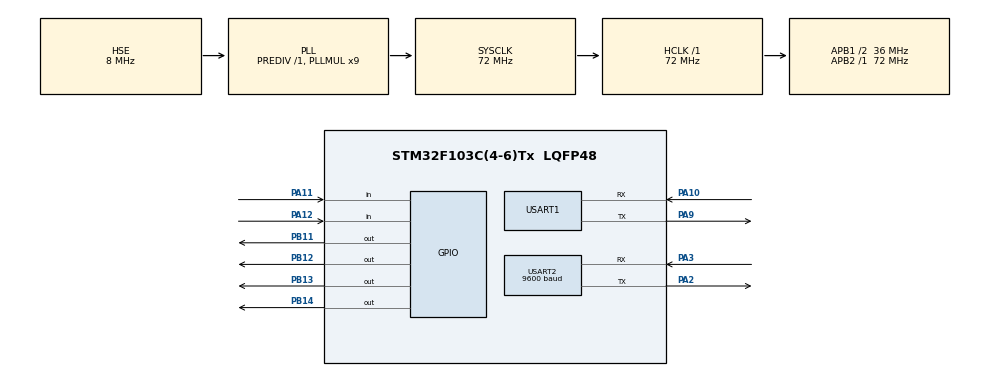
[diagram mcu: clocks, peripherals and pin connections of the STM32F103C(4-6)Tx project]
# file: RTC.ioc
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IWDG.Prescaler=IWDG_PRESCALER_256
Mcu.Family=STM32F1
Mcu.Name=STM32F103C(4-6)Tx
Mcu.Package=LQFP48
NVIC.PriorityGroup=NVIC_PRIORITYGROUP_4
NVIC.RTC_Alarm_IRQn=true\:0\:0\:false\:false\:true\:true\:true\:true
NVIC.RTC_IRQn=true\:0\:0\:false\:false\:true\:true\:true\:true
PA10.Mode=Asynchronous
PA10.Signal=USART1_RX
PA11.Signal=GPIO_Input
PA12.Signal=GPIO_Input
PA13.Mode=Serial_Wire
PA13.Signal=SYS_JTMS-SWDIO
PA14.Mode=Serial_Wire
PA14.Signal=SYS_JTCK-SWCLK
PA2.Mode=Asynchronous
PA2.Signal=USART2_TX
PA3.Mode=Asynchronous
PA3.Signal=USART2_RX
PA9.Mode=Asynchronous
PA9.Signal=USART1_TX
PB11.Signal=GPIO_Output
PB12.Signal=GPIO_Output
PB13.Signal=GPIO_Output
PB14.Signal=GPIO_Output
PC14-OSC32_IN.Mode=LSE-External-Oscillator
PC14-OSC32_IN.Signal=RCC_OSC32_IN
PC15-OSC32_OUT.Mode=LSE-External-Oscillator
PC15-OSC32_OUT.Signal=RCC_OSC32_OUT
PD0-OSC_IN.Mode=HSE-External-Oscillator
PD0-OSC_IN.Signal=RCC_OSC_IN
PD1-OSC_OUT.Mode=HSE-External-Oscillator
PD1-OSC_OUT.Signal=RCC_OSC_OUT
ProjectManager.HeapSize=0x200
ProjectManager.StackSize=0x400
ProjectManager.TargetToolchain=MDK-ARM V5.32
RCC.AHBFreq_Value=72000000
RCC.APB1CLKDivider=RCC_HCLK_DIV2
RCC.APB1Freq_Value=36000000
RCC.APB1TimFreq_Value=72000000
RCC.APB2Freq_Value=72000000
RCC.APB2TimFreq_Value=72000000
RCC.HCLKFreq_Value=72000000
RCC.PLLMUL=RCC_PLL_MUL9
RCC.PLLSourceVirtual=RCC_PLLSOURCE_HSE
RCC.RTCClockSelection=RCC_RTCCLKSOURCE_LSE
RCC.SYSCLKFreq_VALUE=72000000
RCC.SYSCLKSource=RCC_SYSCLKSOURCE_PLLCLK
RCC.USBFreq_Value=72000000
RTC.AsynchPrediv=32767
RTC.AutoPrediv=0
RTC.Date=17
RTC.Format=RTC_FORMAT_BCD
RTC.Month=RTC_MONTH_AUGUST
RTC.OutPut=RTC_OUTPUTSOURCE_ALARM
RTC.WeekDay=RTC_WEEKDAY_SUNDAY
RTC.Year=25
USART1.VirtualMode=VM_ASYNC
USART2.BaudRate=9600
USART2.VirtualMode=VM_ASYNC
VP_IWDG_VS_IWDG.Mode=IWDG_Activate
VP_RTC_VS_RTC_Activate.Mode=RTC_Enabled
VP_RTC_VS_RTC_Calendar.Mode=RTC_Calendar
board=custom

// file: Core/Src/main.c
/* USER CODE BEGIN Header */
/**
  ******************************************************************************
  * @file           : main.c
  * @brief          : Main program body
  ******************************************************************************
  * @attention
  *
  * Copyright (c) 2025 STMicroelectronics.
  * All rights reserved.
  *
  * This software is licensed under terms that can be found in the LICENSE file
  * in the root directory of this software component.
  * If no LICENSE file comes with this software, it is provided AS-IS.
  *
  ******************************************************************************
  */
/* USER CODE END Header */
#include "main.h"
#include "iwdg.h"
#include "rtc.h"
#include "usart.h"
#include "gpio.h"

/* USER CODE BEGIN Includes */
#include "stdio.h"
#include "string.h"
#include <stdlib.h>
#include <string.h>
#include <ctype.h>
#include "stm32f1xx_hal.h"  // ?? ??? MCU ????

extern RTC_HandleTypeDef hrtc; // ????? ????? hrtc ?? rtc.c
volatile uint8_t alarm_flag = 0; // ???? ?????
extern UART_HandleTypeDef huart1;
extern UART_HandleTypeDef huart2; // UART2 ???? SIM800

RTC_DateTypeDef sDate= {0};
RTC_TimeTypeDef sTime = {0};

/* USER CODE END Includes */

/* USER CODE BEGIN PTD */
uint16_t rx_index = 0;
char uart_buffer[256];
uint8_t alarm_duration = 2;

uint8_t led1_end_hour;
uint8_t led1_end_minute; // ????? ??
uint8_t led2_end_hour;
uint8_t led2_end_minute;
uint8_t led3_end_hour;
uint8_t led3_end_minute;

/* USER CODE END PTD */

/* USER CODE BEGIN PD */
// ?????? (?? ???? ???? ????? ????????? ???? ????? ???)
#define LED1_GPIO GPIOB
#define LED1_PIN  GPIO_PIN_12
#define LED2_GPIO GPIOB
#define LED2_PIN  GPIO_PIN_13   // ????? ??? ??? ?? ????? ??
#define LED3_GPIO GPIOB
#define LED3_PIN  GPIO_PIN_14   // ????? ??? ??? ?? ????? ??

// ????? ? ??????? LED??
volatile uint8_t led1_on = 0, led2_on = 0, led3_on = 0;
uint8_t led1_hour, led1_minute = 0, led1_duration = 0;
uint8_t led2_hour, led2_minute = 0, led2_duration = 0;
uint8_t led3_hour, led3_minute = 0, led3_duration = 0;

uint32_t last_door_event_time = 0;   // ???? ????? ?????? ??
uint8_t door_event_stage = 0; // 0=????? ???? ????? 1=???? ???????? 2=???? ?????
uint8_t door_sensor_enabled = 0;  // 1=????? 0=??? ????
uint8_t alarms_enabled = 0;  // 1=????? 0=??? ????

volatile uint8_t sms_received_flag = 0;
volatile uint8_t sms_index = 0;
// ???? ????? ???-blocking ????? ?????
volatile uint8_t status_sms_pending = 0;      // flag ???? ????? ????? ????? Status ????? ????? ???
char status_sms_msg[160];      // ??? ????? Status

// 1 ???? ????? ???? LED1 ???? 2 ???? ???? LED2
volatile uint8_t current_alarm_led = 1;
/* USER CODE END PD */

/* USER CODE BEGIN PV */

void Set_Alarm_Daily(uint8_t hour, uint8_t minute, uint8_t second);
/* USER CODE END PV */

void SystemClock_Config(void);
/* USER CODE BEGIN PFP */

void uart1_send_str(char *data);

void RTC_IRQHandler(void);

void SystemClock_Config(void);
static void MX_UART2_Init(void);
void uart1_send_str(char *data);
void sim800_send_sms(const char *phone_number, const char *message);
void sim800_send_sms1(const char *phone_number, const char *message);
void Error_Handler(void);
/* USER CODE END PFP */

/* USER CODE BEGIN 0 */
volatile uint8_t alarm_triggered = 0;
volatile uint8_t led_on = 0;

//volatile uint8_t led2_on = 0;
volatile uint8_t alarm_triggered_led2 = 0;

//void HAL_RTC_AlarmAEventCallback(RTC_HandleTypeDef *hrtc)
//{
//  alarm_triggered = 1; // ??? ????? ????
//}

//void Set_Alarm_Daily(uint8_t hour, uint8_t minute, uint8_t second)
//{
//    RTC_AlarmTypeDef sAlarm = {0};
//    sAlarm.AlarmTime.Hours = hour;
//    sAlarm.AlarmTime.Minutes = minute;
//    sAlarm.AlarmTime.Seconds = second;
//    sAlarm.Alarm = RTC_ALARM_A;
//    if (HAL_RTC_SetAlarm_IT(&hrtc, &sAlarm, RTC_FORMAT_BIN) != HAL_OK)
//    {
//        Error_Handler();
//    }
//}
//void HAL_UART_RxCpltCallback(UART_HandleTypeDef *huart) {
//    static char buffer[32];
//    static uint8_t idx = 0;

//    if(huart->Instance == USART2) {  // ??? UART ??? USART2 ???
//        buffer[idx++] = uart_buffer[0];

//        // ????? ?? +CMTI
//        if(idx >= 5 && strstr(buffer, "+CMTI: \"SM\",")) {
//            char *p = strchr(buffer, ',');
//            if(p) sms_index = atoi(p+1);
//            sms_received_flag = 1;
//            idx = 0; // ???? buffer
//        }

//        // ???? ???? ???? ?????? ?? ????
//        HAL_UART_Receive_IT(&huart2, (uint8_t*)uart_buffer, 1);
//    }
//}

void uart1_send_str(char *data)
{
    HAL_UART_Transmit(&huart1, (uint8_t*)data, strlen(data), 100);
}

// ????? ???? ???? ?? UART ?????? ?? ???????? ??????????
uint8_t sim800_wait_for(const char *expected, uint32_t timeout_ms)
{
    uint32_t start = HAL_GetTick();
    char buffer[128];
    uint16_t index = 0;
    uint8_t byte;

    while ((HAL_GetTick() - start) < timeout_ms)
    {
        if (HAL_UART_Receive(&huart2, &byte, 1, 10) == HAL_OK)
        {
            if (index < sizeof(buffer) - 1)
                buffer[index++] = byte;
            buffer[index] = '\0';

            if (strstr(buffer, expected) != NULL)
                return 1;  // ???? ???? ??
        }
    }
    return 0; // ???????? ??
}

void sim800_receive_response(char *buffer, uint16_t buffer_size, uint32_t timeout)
{
    uint16_t index = 0;
    uint32_t start_time = HAL_GetTick();
    uint8_t byte;

    while ((HAL_GetTick() - start_time) < timeout)
    {
        if (HAL_UART_Receive(&huart2, &byte, 1, 10) == HAL_OK)
        {
            if (index < buffer_size - 1)
            {
                buffer[index++] = byte;
            }
        }
    }
    buffer[index] = '\0';

    // ????? ???? ??? UART1
    char debug_buf[256];
//    sprintf(debug_buf, "SIM800 Response: %s\r\n", buffer);
//    uart1_send_str(debug_buf);
		  snprintf(debug_buf, sizeof(debug_buf), "SIM800 Response: %s\r\n", buffer);
			uart1_send_str(debug_buf);

    // ??? ???? ERROR ???? ????? ?? ???? ??
    if (strstr(buffer, "ERROR") != NULL)
    {
        uart1_send_str("SIM800 ERROR detected, resetting module...\r\n");
        HAL_UART_Transmit(&huart2, (uint8_t*)"AT+CFUN=1,1\r\n", strlen("AT+CFUN=1,1\r\n"), 100);
        HAL_Delay(10000); // ??? ???? ????
    }
}
void sim800_cleanup_sms(void) {
    char buffer[200];
    char cmd[20];
    int index = 1;

    while (1) {
        // ?????? ????? ?? ????? index
        sprintf(cmd, "AT+CMGR=%d\r\n", index);
        HAL_UART_Transmit(&huart2, (uint8_t*)cmd, strlen(cmd), 100);
        sim800_receive_response(buffer, sizeof(buffer), 2000);

        if (strstr(buffer, "+CMGR:") == NULL) {
            // ???? ?????? ???? ?????
            break;
        }

        // ??? ???? ?????
        sprintf(cmd, "AT+CMGD=%d\r\n", index);
        HAL_UART_Transmit(&huart2, (uint8_t*)cmd, strlen(cmd), 100);
        HAL_Delay(200); // ??? ??? ???? ????? ??????
        index++;
    }

    uart1_send_str("All old SMS cleared.\r\n");
}
//void sim800_cleanup_sms(void)
//{
//    char cmd[100];
//	  sprintf(cmd, "AT+CMGD=1,4");
//        HAL_UART_Transmit(&huart2, (uint8_t*)cmd, strlen(cmd), 100);
//
//    // 1,4 ???? ????? ??????? ??? ???
//}

////////////////////////////////////

// ????? ???? ?????? ???? ?? Backup Register
// =======================================================
// ??????? ??????? ?? Backup Register
// =======================================================

//void save_settings_to_backup(void) {
//    HAL_PWR_EnableBkUpAccess();  // ????? ??? ?? ?????
//
//    uint32_t flags = ((door_sensor_enabled & 0x01) << 0) |
//                     ((alarms_enabled & 0x01) << 1);
//	  HAL_Delay(1);
//    HAL_RTCEx_BKUPWrite(&hrtc, RTC_BKP_DR6, flags);

//    uint32_t led1_val = ((uint32_t)led1_hour << 16) |
//                        ((uint32_t)led1_minute << 8) |
//                        led1_duration;
//	  HAL_Delay(1);
//    HAL_RTCEx_BKUPWrite(&hrtc, RTC_BKP_DR7, led1_val);

//    uint32_t led2_val = ((uint32_t)led2_hour << 16) |
//                        ((uint32_t)led2_minute << 8) |
//                        led2_duration;
//	  HAL_Delay(1);
//    HAL_RTCEx_BKUPWrite(&hrtc, RTC_BKP_DR8, led2_val);

//    uint32_t led3_val = ((uint32_t)led3_hour << 16) |
//                        ((uint32_t)led3_minute << 8) |
//                        led3_duration;
//		HAL_Delay(1);
//    HAL_RTCEx_BKUPWrite(&hrtc, RTC_BKP_DR9, led3_val);
//}
//void save_settings_to_backup(void) {
//    HAL_PWR_EnableBkUpAccess();  // ???? ???? ?????? ?? Backup Registers
//
//    // ????? ????? ????? ? ?????
//    uint32_t flags = ((door_sensor_enabled & 0x01) << 0) |
//                     ((alarms_enabled & 0x01) << 1);
//    HAL_RTCEx_BKUPWrite(&hrtc, RTC_BKP_DR6, flags);

//    HAL_Delay(1);

//    // ????? ???? ??????? LED1 ?? DR7
//    uint32_t led1_val = ((uint32_t)led1_hour << 16) |
//                        ((uint32_t)led1_minute << 8) |
//                        led1_duration;
//    HAL_RTCEx_BKUPWrite(&hrtc, RTC_BKP_DR7, led1_val);

//    HAL_Delay(1);

//    // ????? ??????? ??? ???? LED1 ?? DR10 (???? ???)
//    HAL_RTCEx_BKUPWrite(&hrtc, RTC_BKP_DR10, (uint32_t)led1_hour);

//    HAL_Delay(1);

//    // ????? ??????? LED2
//    uint32_t led2_val = ((uint32_t)led2_hour << 16) |
//                        ((uint32_t)led2_minute << 8) |
//                        led2_duration;
//    HAL_RTCEx_BKUPWrite(&hrtc, RTC_BKP_DR8, led2_val);

//    HAL_Delay(1);

//    // ????? ??????? LED3
//    uint32_t led3_val = ((uint32_t)led3_hour << 16) |
//                        ((uint32_t)led3_minute << 8) |
//                        led3_duration;
//    HAL_RTCEx_BKUPWrite(&hrtc, RTC_BKP_DR9, led3_val);

//    HAL_Delay(1);
//}
// ********* Save Settings *********
void save_settings_to_backup(void) {
    HAL_PWR_EnableBkUpAccess();

    uint8_t b0 = (uint8_t)((door_sensor_enabled & 0x01) | ((alarms_enabled & 0x01) << 1)); // flags
    uint8_t b1 = (uint8_t)led1_hour;
    uint8_t b2 = (uint8_t)led1_minute;
    uint8_t b3 = (uint8_t)led1_duration;
    uint8_t b4 = (uint8_t)led2_hour;
    uint8_t b5 = (uint8_t)led2_minute;
    uint8_t b6 = (uint8_t)led2_duration;
    uint8_t b7 = (uint8_t)led3_hour;
    uint8_t b8 = (uint8_t)led3_minute;
    uint8_t b9 = (uint8_t)led3_duration;

    // ????????? ?? ?? ???? ?? ?? ??????
    uint16_t dr6  = ((uint16_t)b1 << 8) | (uint16_t)b0; // flags + led1_hour
    uint16_t dr7  = ((uint16_t)b3 << 8) | (uint16_t)b2; // led1_minute + led1_duration
    uint16_t dr8  = ((uint16_t)b5 << 8) | (uint16_t)b4; // led2_hour + led2_minute
    uint16_t dr9  = ((uint16_t)b7 << 8) | (uint16_t)b6; // led2_duration + led3_hour
    uint16_t dr10 = ((uint16_t)b9 << 8) | (uint16_t)b8; // led3_minute + led3_duration

    HAL_RTCEx_BKUPWrite(&hrtc, RTC_BKP_DR6,  dr6);
    HAL_RTCEx_BKUPWrite(&hrtc, RTC_BKP_DR7,  dr7);
    HAL_RTCEx_BKUPWrite(&hrtc, RTC_BKP_DR8,  dr8);
    HAL_RTCEx_BKUPWrite(&hrtc, RTC_BKP_DR9,  dr9);
    HAL_RTCEx_BKUPWrite(&hrtc, RTC_BKP_DR10, dr10);

    // Marker ???? ??????? ?? ????? ???? ????
    HAL_RTCEx_BKUPWrite(&hrtc, RTC_BKP_DR1, 0x32F2);
}

// =======================================================
// ???????? ??????? ?? Backup Register
// =======================================================
//void load_settings_from_backup(void) {
//    HAL_PWR_EnableBkUpAccess(); // ?????? ?? Backup Registers

//    // ??????? ????? ??????? ? ????????
//    uint32_t flags = HAL_RTCEx_BKUPRead(&hrtc, RTC_BKP_DR7);
//    door_sensor_enabled = (flags >> 0) & 0x01;
//    alarms_enabled = (flags >> 1) & 0x01;

//    // ??????? LED1
//    uint32_t led1_val = HAL_RTCEx_BKUPRead(&hrtc, RTC_BKP_DR8);
//    led1_hour = (led1_val >> 16) & 0xFF;
//    led1_minute = (led1_val >> 8) & 0xFF;
//    led1_duration = led1_val & 0xFF;

//    // ??????? LED2
//    uint32_t led2_val = HAL_RTCEx_BKUPRead(&hrtc, RTC_BKP_DR9);
//    led2_hour = (led2_val >> 16) & 0xFF;
//    led2_minute = (led2_val >> 8) & 0xFF;
//    led2_duration = led2_val & 0xFF;

//    // ??????? LED3
//    uint32_t led3_val = HAL_RTCEx_BKUPRead(&hrtc, RTC_BKP_DR10);
//    led3_hour = (led3_val >> 16) & 0xFF;
//    led3_minute = (led3_val >> 8) & 0xFF;
//    led3_duration = led3_val & 0xFF;
//}

//void load_settings_from_backup(void) {
//    HAL_PWR_EnableBkUpAccess(); // ?????? ?? Backup domain

//    uint32_t flags = HAL_RTCEx_BKUPRead(&hrtc, RTC_BKP_DR6);

//    // ??? Backup Register ???? ?? ????? ?????
//    if (flags == 0xFFFFFFFF || flags == 0x0) {
//        door_sensor_enabled = 0;
//        alarms_enabled = 0;

//        led1_hour = 8; led1_minute = 20; led1_duration = 4;
//        led2_hour = 21; led2_minute = 0; led2_duration = 55;
//        led3_hour = 23; led3_minute = 0; led3_duration = 55;

//        save_settings_to_backup(); // ????? ?????? ???????
//        HAL_Delay(1); // ????? ????? ???? ???????
//        return;
//    }

//    // ??????? ??????
//    door_sensor_enabled = (flags >> 0) & 0x01;
//    alarms_enabled = (flags >> 1) & 0x01;

//    uint32_t led1_val = HAL_RTCEx_BKUPRead(&hrtc, RTC_BKP_DR7);
//    led1_hour = (led1_val >> 16) & 0xFF;
//    led1_minute = (led1_val >> 8) & 0xFF;
//    led1_duration = led1_val & 0xFF;

//    uint32_t led2_val = HAL_RTCEx_BKUPRead(&hrtc, RTC_BKP_DR8);
//    led2_hour = (led2_val >> 16) & 0xFF;
//    led2_minute = (led2_val >> 8) & 0xFF;
//    led2_duration = led2_val & 0xFF;

//    uint32_t led3_val = HAL_RTCEx_BKUPRead(&hrtc, RTC_BKP_DR9);
//    led3_hour = (led3_val >> 16) & 0xFF;
//    led3_minute = (led3_val >> 8) & 0xFF;
//    led3_duration = led3_val & 0xFF;
//}
//void load_settings_from_backup(void) {
//    HAL_PWR_EnableBkUpAccess();

//    uint32_t flags = HAL_RTCEx_BKUPRead(&hrtc, RTC_BKP_DR6);

//    // ??? ?????? ???? ??? ? ?????? ???????
//    if (flags == 0xFFFFFFFF || flags == 0x0) {
//        door_sensor_enabled = 0;
//        alarms_enabled = 0;

//        led1_hour = 8; led1_minute = 20; led1_duration = 4;
//        led2_hour = 21; led2_minute = 0; led2_duration = 55;
//        led3_hour = 23; led3_minute = 0; led3_duration = 55;

//        save_settings_to_backup();
//        HAL_Delay(1);
//        return;
//    }

//    // ??????? ??????
//    door_sensor_enabled = (flags >> 0) & 0x01;
//    alarms_enabled = (flags >> 1) & 0x01;

//    // ??????? LED1
//    uint32_t led1_val = HAL_RTCEx_BKUPRead(&hrtc, RTC_BKP_DR7);
//    led1_hour = (led1_val >> 16) & 0xFF;
//    led1_minute = (led1_val >> 8) & 0xFF;
//    led1_duration = led1_val & 0xFF;

//    // ???: ????? ???? ?? ?????? ?? DR10 ????? ? ??? ??
//    uint32_t backup_hour = HAL_RTCEx_BKUPRead(&hrtc, RTC_BKP_DR10);
//    char debug_msg[50];
//    sprintf(debug_msg, "LED1 Hour: %u (DR10)\r\n", backup_hour);
//    uart1_send_str(debug_msg);

//    // ??????? LED2
//    uint32_t led2_val = HAL_RTCEx_BKUPRead(&hrtc, RTC_BKP_DR8);
//    led2_hour = (led2_val >> 16) & 0xFF;
//    led2_minute = (led2_val >> 8) & 0xFF;
//    led2_duration = led2_val & 0xFF;

//    // ??????? LED3
//    uint32_t led3_val = HAL_RTCEx_BKUPRead(&hrtc, RTC_BKP_DR9);
//    led3_hour = (led3_val >> 16) & 0xFF;
//    led3_minute = (led3_val >> 8) & 0xFF;
//    led3_duration = led3_val & 0xFF;
//}
// ********* Load Settings *********
void load_settings_from_backup(void) {
    HAL_PWR_EnableBkUpAccess();

    uint32_t marker = HAL_RTCEx_BKUPRead(&hrtc, RTC_BKP_DR1);
    if (marker != 0x32F2) {
        // ???? ????? ???? => ?????? ???????
        door_sensor_enabled = 0;
        alarms_enabled = 0;

        led1_hour = 8;  led1_minute = 20; led1_duration = 4;
        led2_hour = 21; led2_minute = 0;  led2_duration = 55;
        led3_hour = 23; led3_minute = 0;  led3_duration = 55;

        save_settings_to_backup();
        return;
    }

    uint16_t dr6  = HAL_RTCEx_BKUPRead(&hrtc, RTC_BKP_DR6);
    uint16_t dr7  = HAL_RTCEx_BKUPRead(&hrtc, RTC_BKP_DR7);
    uint16_t dr8  = HAL_RTCEx_BKUPRead(&hrtc, RTC_BKP_DR8);
    uint16_t dr9  = HAL_RTCEx_BKUPRead(&hrtc, RTC_BKP_DR9);
    uint16_t dr10 = HAL_RTCEx_BKUPRead(&hrtc, RTC_BKP_DR10);

    // ??????? ??????
    uint8_t b0 = dr6 & 0xFF;       // flags
    uint8_t b1 = (dr6 >> 8) & 0xFF; // led1_hour
    uint8_t b2 = dr7 & 0xFF;       // led1_minute
    uint8_t b3 = (dr7 >> 8) & 0xFF; // led1_duration
    uint8_t b4 = dr8 & 0xFF;       // led2_hour
    uint8_t b5 = (dr8 >> 8) & 0xFF; // led2_minute
    uint8_t b6 = dr9 & 0xFF;       // led2_duration
    uint8_t b7 = (dr9 >> 8) & 0xFF; // led3_hour
    uint8_t b8 = dr10 & 0xFF;      // led3_minute
    uint8_t b9 = (dr10 >> 8) & 0xFF; // led3_duration

    // ?????????? ?????? ?? ???????
    door_sensor_enabled = (b0 >> 0) & 0x01;
    alarms_enabled      = (b0 >> 1) & 0x01;

    led1_hour = b1;
    led1_minute = b2;
    led1_duration = b3;

    led2_hour = b4;
    led2_minute = b5;
    led2_duration = b6;

    led3_hour = b7;
    led3_minute = b8;
    led3_duration = b9;
}

///////////////////////////////////////////

void sim800_check_sms(char *sms_content, uint16_t size) {
    char buffer[200];
	  const char *weekdays[] = {"", "Monday", "Tuesday", "Wednesday", "Thursday", "Friday", "Saturday", "Sunday"};

//	  HAL_UART_Transmit(&huart2, (uint8_t*)"AT+CMGF=1\r\n", strlen("AT+CMGF=1\r\n"), 100);
//    HAL_Delay(500);
    HAL_UART_Transmit(&huart2, (uint8_t*)"AT+CMGR=1\r\n", strlen("AT+CMGR=1\r\n"), 100);
    sim800_receive_response(buffer, sizeof(buffer), 2000);

	///////////////////////////////////////////////////////////////////////////////////////////////////////

	///////////////////////////////////////////////////////////////////////////////////////////////////////

	 strncpy(sms_content, buffer, size-1);
   sms_content[size-1]='\0';

    if (strstr(sms_content, "Water on")) {
        HAL_GPIO_WritePin(LED1_GPIO, LED1_PIN, GPIO_PIN_SET);
        led1_on = 1;
        sim800_send_sms1("+989124661714", "Water turned ON via SMS");

    }
    else if (strstr(sms_content, "Water off")) {
        HAL_GPIO_WritePin(LED1_GPIO, LED1_PIN, GPIO_PIN_RESET);
        led1_on = 0;
        sim800_send_sms1("+989124661714", "Water turned OFF via SMS");
    }
		else if (strstr(sms_content, "Led2 on")) {
        HAL_GPIO_WritePin(LED2_GPIO, LED2_PIN, GPIO_PIN_SET);
        led2_on = 1;
        sim800_send_sms1("+989124661714", "LED2 turned ON via SMS");
    }
    else if (strstr(sms_content, "Led2 off")) {
        HAL_GPIO_WritePin(LED2_GPIO, LED2_PIN, GPIO_PIN_RESET);
        led2_on = 0;
        sim800_send_sms1("+989124661714", "LED2 turned OFF via SMS");
    }
		else if (strstr(sms_content, "Led3 on")) {
        HAL_GPIO_WritePin(LED3_GPIO, LED3_PIN, GPIO_PIN_SET);
        led3_on = 1;
        sim800_send_sms1("+989124661714", "LED3 turned ON via SMS");
    }
    else if (strstr(sms_content, "Led3 off")) {
        HAL_GPIO_WritePin(LED3_GPIO, LED3_PIN, GPIO_PIN_RESET);
        led3_on = 0;
        sim800_send_sms1("+989124661714", "LED3 turned OFF via SMS");
    }
    else if (strstr(sms_content, "Status")) {
        RTC_TimeTypeDef sTime;
        RTC_DateTypeDef sDate;
        char msg[160];
        HAL_RTC_GetTime(&hrtc, &sTime, RTC_FORMAT_BIN);
        HAL_RTC_GetDate(&hrtc, &sDate, RTC_FORMAT_BIN);

        snprintf(msg, sizeof(msg),
            "%02d:%02d:%02d %.2s %02d/%02d/%02d\n"
				    "Sensors:%s\n"
				    "Alarms:%s\n"
            ">L1:%s A%02d:%02d D%u\n"
				    ">L2:%s A%02d:%02d D%u\n"
            ">L3:%s A%02d:%02d D%u",
            sTime.Hours, sTime.Minutes, sTime.Seconds, weekdays[sDate.WeekDay],
            sDate.Date, sDate.Month, sDate.Year,
				    (door_sensor_enabled ? "ON" : "OFF"),
				    (alarms_enabled ? "ON" : "OFF"),
            (led1_on ? "ON" : "OFF"), led1_hour, led1_minute, led1_duration,
            (led2_on ? "ON" : "OFF"), led2_hour, led2_minute, led2_duration,
				    (led3_on ? "ON" : "OFF"), led3_hour, led3_minute, led3_duration
						);

        status_sms_pending = 1;
        strncpy(status_sms_msg, msg, sizeof(status_sms_msg)-1);
        status_sms_msg[sizeof(status_sms_msg)-1] = '\0';
    }
				else if (strstr(sms_content, "Alarms") != NULL) {
								char *p = strstr(sms_content, "Alarms");
								if (p) {
								p += strlen("Alarms");  // ???? ?? ??? ?? ???? "Alarms"

								// ??? ????????? ???? ?????
								while (*p == ' ') p++;

								if (strncasecmp(p, "on", 2) == 0) {   // ??? ??? ?? "Alarms" ???? "on" ???
										alarms_enabled = 1;
										sim800_send_sms1("+989124661714", "Alarms enabled");

									  save_settings_to_backup();
								}
								else if (strncasecmp(p, "off", 3) == 0) { // ??? ??? ?? "Alarms" ???? "off" ???
										alarms_enabled = 0;
										sim800_send_sms1("+989124661714", "Alarms disabled");

									  save_settings_to_backup();
								}
								else {
										sim800_send_sms1("+989124661714", "Invalid Alarms command! Use: Alarms on/off");
								}
						}
				}

		else if (strstr(sms_content, "Alarm3") != NULL) {
				int h, m, d;
				char *p = strstr(sms_content, "Alarm3");
				if (p) {
						p += strlen("Alarm3");

						if (sscanf(p, " %d:%d,%d", &h, &m, &d) == 3) {
								if (h < 24 && m < 60 && d > 0) {
//										led3_hour = (uint8_t)h;
//										led3_minute = (uint8_t)m;
//										led3_duration = (uint8_t)d;

								  	 led3_hour = h;
										led3_minute = m;
										led3_duration = d;

										// ?????? ???? ????? LED ?? ?? ??? ????? ???? ?? ???? ? ?????
										uint16_t total_minutes = led3_minute + led3_duration;
										led3_end_hour = led3_hour + total_minutes / 60;
										led3_end_minute = total_minutes % 60;
										if (led3_end_hour >= 24) led3_end_hour -= 24;

									  save_settings_to_backup();

										char ack[64];
										snprintf(ack, sizeof(ack),
														 "Alarm LED3 set %02d:%02d, Dur %u mins -> End %02d:%02d",
														 led3_hour, led3_minute, led3_duration, led3_end_hour, led3_end_minute);
										sim800_send_sms1("+989124661714", ack);

								} else {
										sim800_send_sms1("+989124661714", "Invalid Alarm3 values!");
								}
						} else {
								sim800_send_sms1("+989124661714", "Invalid Alarm3 format! Use: Alarm3 HH:MM,D");
						}
				}
		}

		else if (strstr(sms_content, "Alarm2") != NULL) {
				int h, m, d;
				char *p = strstr(sms_content, "Alarm2");
				if (p) {
						p += strlen("Alarm2");

						if (sscanf(p, " %d:%d,%d", &h, &m, &d) == 3) {
								if (h < 24 && m < 60 && d > 0) {
//										led2_hour = (uint8_t)h;
//										led2_minute = (uint8_t)m;
//										led2_duration = (uint8_t)d;
									  led2_hour = h;
										led2_minute = m;
										led2_duration = d;

										// ?????? ???? ????? LED ?? ?? ??? ????? ???? ?? ???? ? ?????
										uint16_t total_minutes = led2_minute + led2_duration;
										led2_end_hour = led2_hour + total_minutes / 60;
										led2_end_minute = total_minutes % 60;
										if (led2_end_hour >= 24) led2_end_hour -= 24;

									  save_settings_to_backup();

										char ack[64];
										snprintf(ack, sizeof(ack),
														 "Alarm LED2 set %02d:%02d, Dur %u mins -> End %02d:%02d",
														 led2_hour, led2_minute, led2_duration, led2_end_hour, led2_end_minute);
										sim800_send_sms1("+989124661714", ack);

								} else {
										sim800_send_sms1("+989124661714", "Invalid Alarm2 values!");
								}
						} else {
								sim800_send_sms1("+989124661714", "Invalid Alarm2 format! Use: Alarm3 HH:MM,D");
						}
				}
		}

		else if (strstr(sms_content, "Alarm1") != NULL) {
				int h, m, d;
				char *p = strstr(sms_content, "Alarm1");
				if (p) {
						p += strlen("Alarm1");

						if (sscanf(p, " %d:%d,%d", &h, &m, &d) == 3) {
								if (h < 24 && m < 60 && d > 0) {
//										led1_hour = (uint8_t)h;
//										led1_minute = (uint8_t)m;
//										led1_duration = (uint8_t)d;
									led1_hour = h;
									led1_minute = m;
									led1_duration = d;

										// ?????? ???? ????? LED ?? ?? ??? ????? ???? ?? ???? ? ?????
										uint16_t total_minutes = led1_minute + led1_duration;
										led1_end_hour = led1_hour + total_minutes / 60;
										led1_end_minute = total_minutes % 60;
										if (led1_end_hour >= 24) led1_end_hour -= 24;

									  save_settings_to_backup();

										char ack[64];
										snprintf(ack, sizeof(ack),
														 "Alarm LED1 set %02d:%02d, Dur %u mins -> End %02d:%02d",
														 led1_hour, led1_minute, led1_duration, led1_end_hour, led1_end_minute);
										sim800_send_sms1("+989124661714", ack);

								} else {
										sim800_send_sms1("+989124661714", "Invalid Alarm1 values!");
								}
						} else {
								sim800_send_sms1("+989124661714", "Invalid Alarm1 format! Use: Alarm3 HH:MM,D");
						}
				}
		}

    else if (strstr(sms_content, "Reset") != NULL){
        sim800_send_sms1("+989124661714","System will reset now...");
        HAL_Delay(200);
        NVIC_SystemReset();
    }
		else if (strstr(sms_content, "Sensors on") != NULL) {
    door_sensor_enabled = 1;
    sim800_send_sms1("+989124661714", "Door sensor enabled");

		save_settings_to_backup();

}
		else if (strstr(sms_content, "Sensors off") != NULL) {
				door_sensor_enabled = 0;
				sim800_send_sms1("+989124661714", "Door sensor disabled");

			  save_settings_to_backup();

		}

//    strncpy(sms_content, buffer, size-1);
//    sms_content[size-1]='\0';
    HAL_UART_Transmit(&huart2,(uint8_t*)"AT+CMGD=1,4\r\n",strlen("AT+CMGD=1,4\r\n"),100);
    HAL_Delay(500);
}

void sim800_send_sms(const char *phone_number, const char *message)
{
    char buf[128];
    char response[100];

    // ??? ?????? ?? SIM800
    HAL_UART_Transmit(&huart2, (uint8_t*)"AT\r\n", strlen("AT\r\n"), 100);
    sim800_receive_response(response, sizeof(response), 1000);

    // ????? ???? ???? SMS
    HAL_UART_Transmit(&huart2, (uint8_t*)"AT+CMGF=1\r\n", strlen("AT+CMGF=1\r\n"), 100);
    sim800_receive_response(response, sizeof(response), 1000);

		    // ????? ???? ???? SMS
    HAL_UART_Transmit(&huart2, (uint8_t*)"AT+CSQ\r\n", strlen("AT+CSQ\r\n"), 100);
    sim800_receive_response(response, sizeof(response), 1000);

	  HAL_UART_Transmit(&huart2, (uint8_t*)"AT+CSCA?\r\n", strlen("AT+CSCA?\r\n"), 100);
    sim800_receive_response(response, sizeof(response), 1000);

		HAL_UART_Transmit(&huart2, (uint8_t*)"AT+CPIN?\r\n", strlen("AT+CPIN?\r\n"), 100);
    sim800_receive_response(response, sizeof(response), 1000);

      snprintf(buf, sizeof(buf), "SMS sent to %s: %s\r\n", phone_number, message);
			uart1_send_str(buf);
}

// ???? ????? SMS ??? ??????????
void sim800_send_sms1(const char *phone_number, const char *message)
{
    char buf[128];

    // ????? 1: AT
    HAL_UART_Transmit(&huart2, (uint8_t*)"AT\r\n", 3, 100);
    HAL_Delay(50);  // ????? ? ??? ??????????

    // ????? 2: SMS Text mode
    HAL_UART_Transmit(&huart2, (uint8_t*)"AT+CMGF=1\r\n", 11, 100);
    HAL_Delay(50);

    // ????? 3: ???? ????? SMS
    snprintf(buf, sizeof(buf), "AT+CMGS=\"%s\"\r\n", phone_number);
    HAL_UART_Transmit(&huart2, (uint8_t*)buf, strlen(buf), 100);
    HAL_Delay(50);

    // ????? 4: ??? ????
    HAL_UART_Transmit(&huart2, (uint8_t*)message, strlen(message), 100);
    HAL_Delay(50);

    // ????? 5: CTRL+Z
    HAL_UART_Transmit(&huart2, (uint8_t*)"\x1A", 1, 100);

    // ????? 6: ????? Delay ???? ???? SIM800
    HAL_Delay(500);

    // ????? ???? ??? UART1
    snprintf(buf, sizeof(buf), "SMS sent to %s: %s\r\n", phone_number, message);
    uart1_send_str(buf);
}

/* USER CODE END 0 */

int main(void)
{

  /* USER CODE BEGIN 1 */
char sending_data_str[60];
  /* USER CODE END 1 */

  /* MCU Configuration--------------------------------------------------------*/

  /* Reset of all peripherals, Initializes the Flash interface and the Systick. */
  HAL_Init();

  /* Configure the system clock */
  SystemClock_Config();

  /* Initialize all configured peripherals */
  MX_GPIO_Init();
  MX_RTC_Init();
  MX_USART1_UART_Init();
  MX_USART2_UART_Init();
  MX_IWDG_Init();
  /* USER CODE BEGIN 2 */
	uart1_send_str("Program started...\r\n"); // ???? ?????
////////////////////////////////////////////////////////////////////////////////////////
//  MX_RTC_Init();

		load_settings_from_backup();

	 // ???? ???? ????? SMS ???? ??? UART
		HAL_UART_Transmit(&huart2, (uint8_t*)"AT+CNMI=2,2,0,0,0\r\n", strlen("AT+CNMI=2,2,0,0,0\r\n"), 100);
		HAL_Delay(500);

	// ??? ????? ?????? ?? SIM800
    char response[100];
    HAL_UART_Transmit(&huart2, (uint8_t*)"AT\r\n", strlen("AT\r\n"), 100);
    sim800_receive_response(response, sizeof(response), 1000);

		HAL_UART_Transmit(&huart2, (uint8_t*)"AT+CMGF=1\r\n", strlen("AT+CMGF=1\r\n"), 100);
    sim800_receive_response(response, sizeof(response), 1000);

    // ????? ????? ????? ?? ????? ? ????
    HAL_RTC_GetTime(&hrtc, &sTime, RTC_FORMAT_BIN);
    HAL_RTC_GetDate(&hrtc, &sDate, RTC_FORMAT_BIN);
    const char *weekdays[] = {"", "Monday", "Tuesday", "Wednesday", "Thursday", "Friday", "Saturday", "Sunday"};

		HAL_RTCEx_BKUPWrite(&hrtc, RTC_BKP_DR2, sDate.Year);
    HAL_RTCEx_BKUPWrite(&hrtc, RTC_BKP_DR3, sDate.Month);
    HAL_RTCEx_BKUPWrite(&hrtc, RTC_BKP_DR4, sDate.Date);
    HAL_RTCEx_BKUPWrite(&hrtc, RTC_BKP_DR5, sDate.WeekDay);

		char sms_message[100];
    sprintf(sms_message, "Ready: %02d/%02d/20%02d %s %02d:%02d:%02d",
            sDate.Date, sDate.Month, sDate.Year,
            weekdays[sDate.WeekDay],
            sTime.Hours, sTime.Minutes, sTime.Seconds);
//    sim800_send_sms("+989379855298", sms_message); // ??????? ????? ????

//  Set_Alarm_Daily(9,45, 00);   // set alarm daily for 8:20:00

		   // ***** ?????? ???? ????? ??? LED ?? *****
    uint16_t total_minutes;

    // LED1
    total_minutes = led1_minute + led1_duration;
    led1_end_hour = led1_hour + total_minutes / 60;
    led1_end_minute = total_minutes % 60;
    if (led1_end_hour >= 24) led1_end_hour -= 24;

    // LED2
    total_minutes = led2_minute + led2_duration;
    led2_end_hour = led2_hour + total_minutes / 60;
    led2_end_minute = total_minutes % 60;
    if (led2_end_hour >= 24) led2_end_hour -= 24;

    // LED3
    total_minutes = led3_minute + led3_duration;
    led3_end_hour = led3_hour + total_minutes / 60;
    led3_end_minute = total_minutes % 60;
    if (led3_end_hour >= 24) led3_end_hour -= 24;
    // ***************************************

	char buf[60];

		unsigned char previous_second=250;

		uart1_send_str("Mostafa Ataee\r\n\r\n");
//		sim800_send_sms1("+989124661714", "Micro is Reseted,\n Alarms off,\n Sensors off");

   char sms_content[160];

//		HAL_UART_Receive_IT(&huart2, (uint8_t*)uart_buffer, 1);  // ?????? ??????? 1 ????
  /* USER CODE END 2 */

  /* Infinite loop */
  while (1)
  {

    /* USER CODE BEGIN 3 */
/* USER CODE END WHILE */

  /* USER CODE BEGIN 3 */

//	///////////////////////////////////////////////////////////////////////////
    // ?????? ???? ? ????? ????
    HAL_RTC_GetTime(&hrtc, &sTime, RTC_FORMAT_BIN);
    HAL_RTC_GetDate(&hrtc, &sDate, RTC_FORMAT_BIN);

//		HAL_GPIO_WritePin(LED1_GPIO, LED1_PIN, GPIO_PIN_SET);
//		HAL_Delay(500);
//		HAL_GPIO_WritePin(LED2_GPIO, LED2_PIN, GPIO_PIN_SET);
//		HAL_Delay(500);
//		HAL_GPIO_WritePin(LED3_GPIO, LED3_PIN, GPIO_PIN_SET);
//		HAL_Delay(500);
//    sim800_receive_response(sms_content, sizeof(sms_content), 2000);
//    if(HAL_GPIO_ReadPin(GPIOA, GPIO_PIN_12) == GPIO_PIN_RESET) {
//    HAL_UART_Transmit(&huart2, (uint8_t*)"Pin LOW!\r\n", strlen("Pin LOW!\r\n"), 1000);
//}
//      HAL_RTCEx_BKUPWrite(&hrtc, RTC_BKP_DR1, 0x12345678);
//		HAL_Delay(500);
//		char buf[32];
//uint32_t value = HAL_RTCEx_BKUPRead(&hrtc, RTC_BKP_DR1);
//sprintf(buf, "Value: 0x%08X\r\n", value);
//uart1_send_str(buf);
    // ??????? ???????? ??? ?? ??????
//    sim800_cleanup_sms();
    HAL_UART_Transmit(&huart2, (uint8_t*)"AT+CMGF=1\r\n", strlen("AT+CMGF=1\r\n"), 100);
    HAL_Delay(100);

		if (status_sms_pending) {
    sim800_send_sms1("+989124661714", status_sms_msg);
    status_sms_pending = 0; // ????????? flag ?? ???? ??
		}

		sim800_check_sms(sms_content, sizeof(sms_content));

		if (alarms_enabled) {
					// LED1
					if (!led1_on && sTime.Hours == led1_hour && sTime.Minutes == led1_minute) {
							HAL_GPIO_WritePin(LED1_GPIO, LED1_PIN, GPIO_PIN_SET);
							led1_on = 1;

					//	  sprintf(sms_message, "LED2 is ON: %02d/%02d/20%02d %s %02d:%02d",
					//						sDate.Date, sDate.Month, sDate.Year,
					//						weekdays[sDate.WeekDay],
					//						sTime.Hours, sTime.Minutes);
							snprintf(sms_message, sizeof(sms_message),
									 "LED1 is ON: %02d/%02d/20%02d %s %02d:%02d",
									 sDate.Date, sDate.Month, sDate.Year,
									 weekdays[sDate.WeekDay],
									 sTime.Hours, sTime.Minutes);
							sim800_send_sms1("+989124661714", sms_message);

							led1_end_minute = (led1_minute + led1_duration) % 60;
					}

					if (led1_on && sTime.Hours == led1_end_hour && sTime.Minutes == led1_end_minute) {
							HAL_GPIO_WritePin(LED1_GPIO, LED1_PIN, GPIO_PIN_RESET);
							led1_on = 0;
							sim800_send_sms1("+989124661714", "LED1 is OFF");
					}

					// LED2
					if (!led2_on && sTime.Hours == led2_hour && sTime.Minutes == led2_minute) {
							HAL_GPIO_WritePin(LED2_GPIO, LED2_PIN, GPIO_PIN_SET);
							led2_on = 1;

					//	  sprintf(sms_message, "LED2 is ON: %02d/%02d/20%02d %s %02d:%02d",
					//						sDate.Date, sDate.Month, sDate.Year,
					//						weekdays[sDate.WeekDay],
					//						sTime.Hours, sTime.Minutes);
							snprintf(sms_message, sizeof(sms_message),
									 "LED2 is ON: %02d/%02d/20%02d %s %02d:%02d",
									 sDate.Date, sDate.Month, sDate.Year,
									 weekdays[sDate.WeekDay],
									 sTime.Hours, sTime.Minutes);
							sim800_send_sms1("+989124661714", sms_message);

							led2_end_minute = (led2_minute + led2_duration) % 60;
					}

					if (led2_on && sTime.Hours == led2_end_hour && sTime.Minutes == led2_end_minute) {
							HAL_GPIO_WritePin(LED2_GPIO, LED2_PIN, GPIO_PIN_RESET);
							led2_on = 0;
							sim800_send_sms1("+989124661714", "LED2 is OFF");
					}

					// LED3
					if (!led3_on && sTime.Hours == led3_hour && sTime.Minutes == led3_minute) {
							HAL_GPIO_WritePin(LED3_GPIO, LED3_PIN, GPIO_PIN_SET);
							led3_on = 1;

					//	  sprintf(sms_message, "LED3 is ON: %02d/%02d/20%02d %s %02d:%02d",
					//						sDate.Date, sDate.Month, sDate.Year,
					//						weekdays[sDate.WeekDay],
					//						sTime.Hours, sTime.Minutes);
							snprintf(sms_message, sizeof(sms_message),
									 "LED3 is ON: %02d/%02d/20%02d %s %02d:%02d",
									 sDate.Date, sDate.Month, sDate.Year,
									 weekdays[sDate.WeekDay],
									 sTime.Hours, sTime.Minutes);
							sim800_send_sms1("+989124661714", sms_message);

							led3_end_minute = (led3_minute + led3_duration) % 60;
					}

					if (led3_on && sTime.Hours == led3_end_hour && sTime.Minutes == led3_end_minute) {
							HAL_GPIO_WritePin(LED3_GPIO, LED3_PIN, GPIO_PIN_RESET);
							led3_on = 0;
							sim800_send_sms1("+989124661714", "LED3 is OFF");
					}

		   }
		 else
		 {
			 __NOP();
		 }
if (door_sensor_enabled) {
    if (HAL_GPIO_ReadPin(GPIOA, GPIO_PIN_12) == GPIO_PIN_RESET) {
        uint32_t now = HAL_GetTick();

        if ((now - last_door_event_time) > (2*60*60*1000)) {
            last_door_event_time = now;
            door_event_stage = 0;
        }

        if (door_event_stage == 0) {
            sim800_send_sms1("+989124661714", "Door is open");
            HAL_Delay(2000);
            door_event_stage = 1;
        }
        else if (door_event_stage == 1) {
            HAL_UART_Transmit(&huart2, (uint8_t*)"ATD+989124661714;\r\n",
                              strlen("ATD+989124661714;\r\n"), 1000);
            door_event_stage = 2;
        }
    }
}

				////////////////////////////////////////////////////////////////////////////////////////////////////

//        if (sTime.Hours == 0 && sTime.Minutes == 0 && sTime.Seconds == 0) {
//            uint8_t days_in_month[12] = {31, 28, 31, 30, 31, 30, 31, 31, 30, 31, 30, 31};
//            if (sDate.Year % 4 == 0 && (sDate.Year % 100 != 0 || sDate.Year % 400 == 0)) {
//                days_in_month[1] = 29;
//            }
//            sDate.Date += 1;
//            if (sDate.Date > days_in_month[sDate.Month - 1]) {
//                sDate.Date = 1;
//                sDate.Month += 1;
//                if (sDate.Month > 12) {
//                    sDate.Month = 1;
//                    sDate.Year += 1;
//                }
//            }
//            sDate.WeekDay = (sDate.WeekDay % 7) + 1;
//            if (HAL_RTC_SetDate(&hrtc, &sDate, RTC_FORMAT_BIN) != HAL_OK) {
//                Error_Handler();
//            }
//            HAL_RTCEx_BKUPWrite(&hrtc, RTC_BKP_DR3, sDate.Year);
//            HAL_RTCEx_BKUPWrite(&hrtc, RTC_BKP_DR4, sDate.Month);
//            HAL_RTCEx_BKUPWrite(&hrtc, RTC_BKP_DR5, sDate.Date);
//            HAL_RTCEx_BKUPWrite(&hrtc, RTC_BKP_DR6, sDate.WeekDay);
//        }

//        const char *weekdays[] = {
//            "", "Monday", "Tuesday", "Wednesday", "Thursday", "Friday", "Saturday", "Sunday"
//        };
        sprintf(sending_data_str, "%02d/%02d/20%02d %s %02d:%02d:%02d\r\n",
                sDate.Date, sDate.Month, sDate.Year,
                weekdays[sDate.WeekDay],
                sTime.Hours, sTime.Minutes, sTime.Seconds);
        uart1_send_str(sending_data_str);
        HAL_Delay(500);

				HAL_IWDG_Refresh(&hiwdg);  // reset Watchdog

  }

  /* USER CODE END 3 */
}

void SystemClock_Config(void)
{
  RCC_OscInitTypeDef RCC_OscInitStruct = {0};
  RCC_ClkInitTypeDef RCC_ClkInitStruct = {0};
  RCC_PeriphCLKInitTypeDef PeriphClkInit = {0};

  /** Initializes the RCC Oscillators according to the specified parameters
  * in the RCC_OscInitTypeDef structure.
  */
  RCC_OscInitStruct.OscillatorType = RCC_OSCILLATORTYPE_LSI|RCC_OSCILLATORTYPE_HSE
                              |RCC_OSCILLATORTYPE_LSE;
  RCC_OscInitStruct.HSEState = RCC_HSE_ON;
  RCC_OscInitStruct.HSEPredivValue = RCC_HSE_PREDIV_DIV1;
  RCC_OscInitStruct.LSEState = RCC_LSE_ON;
  RCC_OscInitStruct.HSIState = RCC_HSI_ON;
  RCC_OscInitStruct.LSIState = RCC_LSI_ON;
  RCC_OscInitStruct.PLL.PLLState = RCC_PLL_ON;
  RCC_OscInitStruct.PLL.PLLSource = RCC_PLLSOURCE_HSE;
  RCC_OscInitStruct.PLL.PLLMUL = RCC_PLL_MUL9;
  if (HAL_RCC_OscConfig(&RCC_OscInitStruct) != HAL_OK)
  {
    Error_Handler();
  }

  /** Initializes the CPU, AHB and APB buses clocks
  */
  RCC_ClkInitStruct.ClockType = RCC_CLOCKTYPE_HCLK|RCC_CLOCKTYPE_SYSCLK
                              |RCC_CLOCKTYPE_PCLK1|RCC_CLOCKTYPE_PCLK2;
  RCC_ClkInitStruct.SYSCLKSource = RCC_SYSCLKSOURCE_PLLCLK;
  RCC_ClkInitStruct.AHBCLKDivider = RCC_SYSCLK_DIV1;
  RCC_ClkInitStruct.APB1CLKDivider = RCC_HCLK_DIV2;
  RCC_ClkInitStruct.APB2CLKDivider = RCC_HCLK_DIV1;

  if (HAL_RCC_ClockConfig(&RCC_ClkInitStruct, FLASH_LATENCY_2) != HAL_OK)
  {
    Error_Handler();
  }
  PeriphClkInit.PeriphClockSelection = RCC_PERIPHCLK_RTC;
  PeriphClkInit.RTCClockSelection = RCC_RTCCLKSOURCE_LSE;
  if (HAL_RCCEx_PeriphCLKConfig(&PeriphClkInit) != HAL_OK)
  {
    Error_Handler();
  }
}

void Error_Handler(void)
{
  /* USER CODE BEGIN Error_Handler_Debug */
  /* User can add his own implementation to report the HAL error return state */
	//Print error message and blink LED if an error occurs.
  __disable_irq();
	uart1_send_str("Error occurred!\r\n");
  while (1)
  {
	 HAL_GPIO_TogglePin(GPIOB, GPIO_PIN_0);
   HAL_Delay(500);
  }
  /* USER CODE END Error_Handler_Debug */
}
